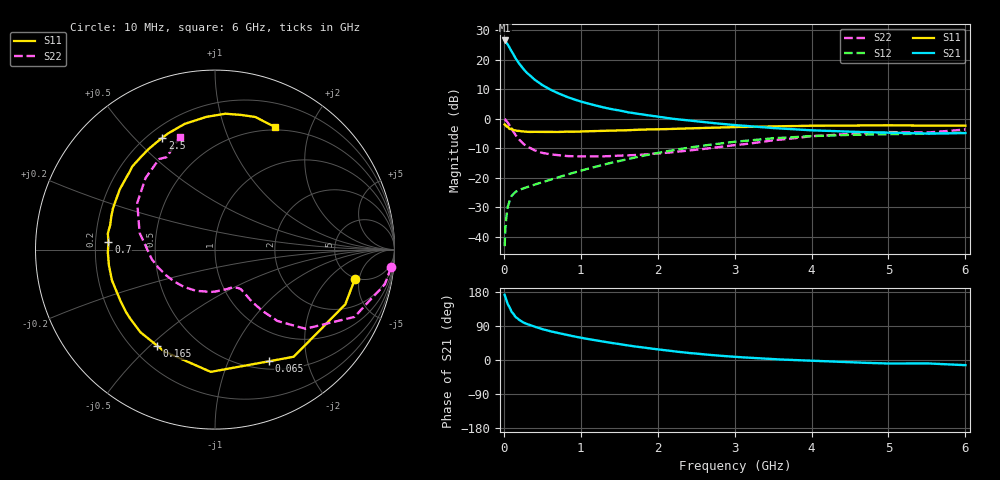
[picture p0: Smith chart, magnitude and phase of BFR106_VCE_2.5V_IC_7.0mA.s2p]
! (c) 2015  Infineon Technologies AG, Munich
! Infineon Technologies  Discrete & RF Semiconductors
! BFR106
! VCE =  2.5 V,  IC =  7.0 mA
! Common Emitter S-Parameters:  Nov 2015
# GHz  S  MA  R  50
!  f  S11  S21  S12  S22
! GHz  MAG  ANG  MAG  ANG  MAG  ANG  MAG  ANG
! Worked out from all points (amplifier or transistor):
!   210 points, 10 MHz to 6 GHz, reference 50 ohm
!   highest |S21| = 26.5 dB at 10 MHz (marker M1)
!   |S21| within 3 dB of that: start of sweep to 85.77 MHz
!   unconditionally stable (mu >= 1): 545.4 MHz to 2.183 GHz; 4.635 GHz to end of sweep
!   at 185 MHz: K = 0.47, MSG = 21.8 dB, |S12| = -24.4 dB
!   at 1.52 GHz: K = 1.11, MAG = 6.4 dB, |S12| = -14.2 dB
!   at 6 GHz: K = 1.02, MAG = -0.9 dB, |S12| = -4.7 dB
!   S11 on the Smith chart (normalised r, x): 10 MHz: 4.87, -4.34; 65 MHz: 0.60, -1.42; 165 MHz: 0.30, -0.53; 700 MHz: 0.25, +0.03; 2.5 GHz: 0.25, +0.60; 6 GHz: 0.46, +1.50
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0.01  0.7967 -11.8  21.17 172.2  0.0069 85.3  0.9861 -5.7
0.02  0.7875 -22.8  20.66 166.2  0.0138 80.3  0.9661 -11.5
0.05  0.7408 -53.7  18.22 147.8  0.0318 64.4  0.8626 -25.8
0.065  0.6908 -64.3  16.75 142.8  0.0367 58.9  0.7992 -29.6
0.1  0.6817 -92.0  14 127.4  0.0489 50.6  0.6694 -41.2
0.15  0.6339 -116.4  10.66 113.9  0.0571 43.1  0.5285 -48.8
0.165  0.6249 -121.0  10.01 111.8  0.0586 42.4  0.5021 -49.6
0.2  0.6202 -132.1  8.566 105.8  0.0621 41.0  0.4409 -51.9
0.24  0.6089 -141.0  7.338 100.8  0.0649 40.6  0.3898 -53.5
0.3  0.5995 -151.3  5.971 94.8  0.069 41.3  0.3397 -55.0
0.4  0.5992 -163.3  4.585 87.6  0.0763 43.6  0.2904 -55.9
0.5  0.5975 -171.5  3.709 81.4  0.0833 46.3  0.2631 -56.9
0.6  0.5972 -178.4  3.132 76.0  0.0919 49.2  0.249 -59.1
0.7  0.5949 176.0  2.718 71.2  0.1008 51.6  0.2408 -61.8
1.02  0.6075 161.4  1.921 58.2  0.1335 56.4  0.23 -72.4
1.4  0.6278 147.8  1.45 45.2  0.1791 58.2  0.2336 -89.3
2.02  0.6609 128.5  1.071 27.6  0.2654 54.5  0.2584 -121.4
2.5  0.6888 115.2  0.904 16.9  0.3361 48.3  0.2969 -147.0
3.1  0.7229 101.5  0.762 7.1  0.4168 38.2  0.3665 -176.2
4.1  0.7595 84.2  0.628 -2.8  0.5109 20.5  0.5125 145.8
5.1  0.7698 72.0  0.575 -9.2  0.5478 5.8  0.5904 120.9
6  0.7614 64.1  0.57 -13.6  0.5816 -4.6  0.6561 107.4
